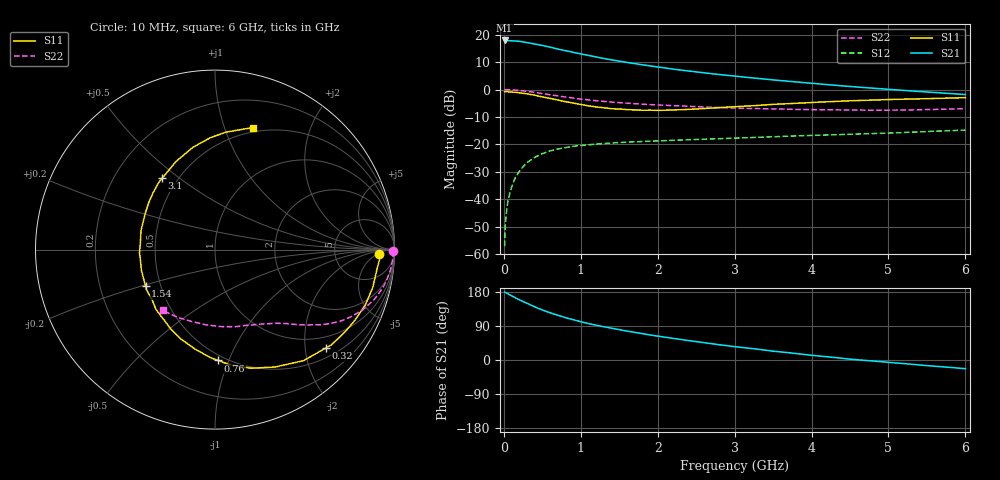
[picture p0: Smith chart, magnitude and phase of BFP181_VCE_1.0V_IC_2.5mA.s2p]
! Infineon Technologies  Discrete & RF Semiconductors
! BFP181
! VCE = 1.0 V,  IC =  2.5 mA
! Common Emitter S-Parameters:  Jan 2016
# GHz  S  MA  R  50
!  f  S11  S21  S12  S22
! GHz  MAG  ANG  MAG  ANG  MAG  ANG  MAG  ANG
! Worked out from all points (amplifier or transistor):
!   210 points, 10 MHz to 6 GHz, reference 50 ohm
!   highest |S21| = 17.9 dB at 10 MHz (marker M1)
!   |S21| within 3 dB of that: start of sweep to 680.9 MHz
!   unconditionally stable (mu >= 1): 2.052 GHz to end of sweep
!   at 185 MHz: K = 0.11, MSG = 24.1 dB, |S12| = -30.5 dB
!   at 1.52 GHz: K = 0.80, MSG = 14.8 dB, |S12| = -19.3 dB
!   at 6 GHz: K = 1.18, MAG = 3.9 dB, |S12| = -14.8 dB
!   S11 on the Smith chart (normalised r, x): 10 MHz: 20, -6; 320 MHz: 0.71, -2.45; 760 MHz: 0.46, -0.92; 1.54 GHz: 0.41, -0.21; 3.1 GHz: 0.41, +0.43; 6 GHz: 0.46, +1.26
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0.01  0.9118 -1.5  7.834 179.2  0.0014 83.0  0.9943 -0.5
0.02  0.9206 -2.8  7.821 178.5  0.0034 88.6  0.9917 -1.2
0.03  0.9164 -4.1  7.815 177.2  0.0052 88.5  0.9915 -1.8
0.05  0.9095 -6.7  7.813 174.7  0.0087 88.4  0.9915 -3.1
0.085  0.9042 -11.5  7.746 171.1  0.0141 82.8  0.9873 -5.3
0.2  0.8724 -27.1  7.575 158.9  0.032 74.7  0.9625 -12.1
0.32  0.8256 -41.6  7.095 147.9  0.0487 65.4  0.9196 -18.5
0.4  0.7916 -51.4  6.807 140.0  0.0579 60.8  0.8881 -22.3
0.5  0.7344 -63.0  6.343 131.7  0.068 54.7  0.8438 -26.4
0.6  0.6904 -73.2  5.938 124.5  0.0761 50.2  0.8023 -29.9
0.76  0.6176 -88.5  5.253 114.4  0.0856 44.2  0.7435 -34.0
0.9  0.5647 -101.5  4.787 106.2  0.0924 39.6  0.6981 -36.9
1.02  0.5266 -112.5  4.397 100.0  0.0963 36.6  0.6649 -39.1
1.24  0.4748 -130.1  3.814 90.2  0.1027 32.0  0.618 -42.5
1.54  0.4372 -152.3  3.224 78.5  0.1088 28.2  0.5716 -46.1
1.8  0.4196 -171.1  2.824 69.2  0.1129 25.9  0.541 -49.3
2.02  0.4175 175.2  2.543 62.3  0.1163 24.4  0.5216 -52.0
2.6  0.4512 145.5  2.011 45.8  0.1244 21.2  0.4803 -60.0
3.1  0.4948 126.5  1.7 33.1  0.1318 19.0  0.4555 -67.9
4.1  0.5895 100.2  1.264 10.6  0.1473 15.0  0.4277 -87.5
5.1  0.6612 83.4  0.985 -7.9  0.1627 11.5  0.4216 -110.0
6  0.7118 72.6  0.81 -22.9  0.1823 7.6  0.4467 -130.6
